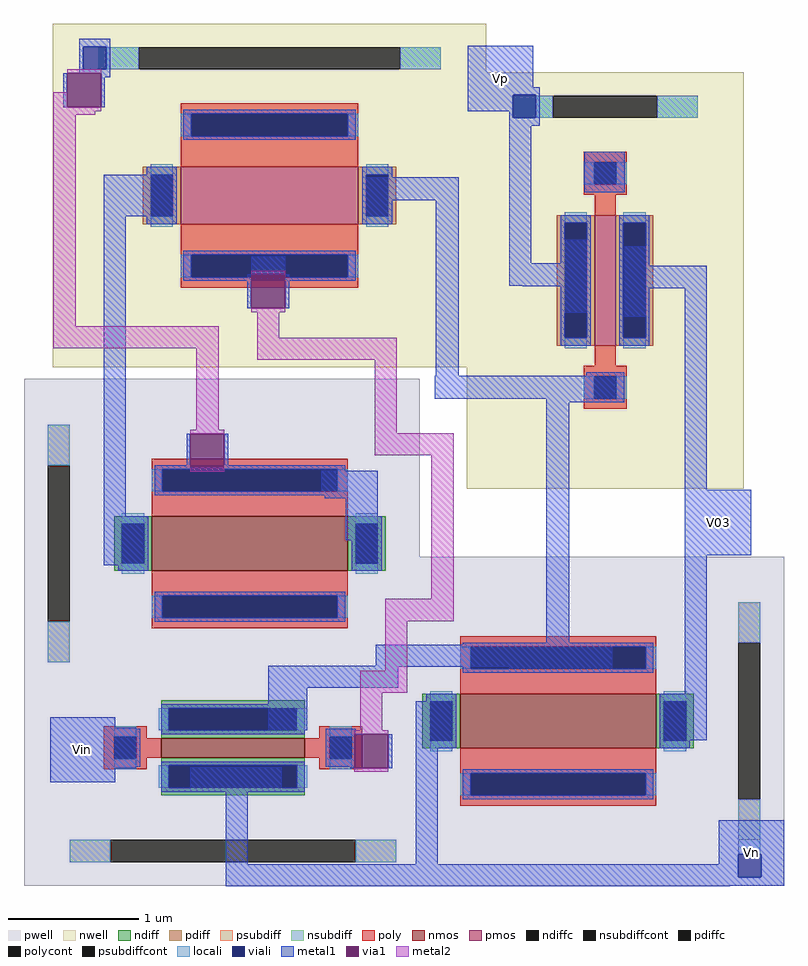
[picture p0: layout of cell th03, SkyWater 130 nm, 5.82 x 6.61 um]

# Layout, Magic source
magic
tech sky130A
magscale 1 2
<< nsubdiff >>
rect 1275 94 1327 128
<< locali >>
rect 642 168 667 202
rect 1300 94 1326 128
rect 1610 -1034 1644 -959
<< viali >>
rect 607 168 642 203
rect 1265 94 1300 129
rect 1610 -1069 1645 -1034
<< metal1 >>
rect 601 203 648 215
rect 601 168 607 203
rect 642 168 648 203
rect 601 162 648 168
rect 576 110 582 162
rect 634 156 648 162
rect 634 110 640 156
rect 1196 141 1296 204
rect 1196 129 1306 141
rect 1196 104 1265 129
rect 1259 94 1265 104
rect 1300 94 1306 129
rect 1259 82 1306 94
rect 638 -57 743 7
rect 1041 -32 1182 3
rect 1041 -57 1076 -32
rect 638 -527 672 -57
rect 864 -146 916 -118
rect 858 -198 864 -146
rect 916 -198 922 -146
rect 1147 -301 1182 -32
rect 1259 -129 1293 82
rect 1374 -20 1436 42
rect 1343 -129 1377 -93
rect 1259 -130 1377 -129
rect 1259 -163 1379 -130
rect 1280 -164 1379 -163
rect 1435 -133 1469 -103
rect 1343 -205 1377 -164
rect 1435 -167 1562 -133
rect 1435 -211 1469 -167
rect 1145 -335 1435 -301
rect 1145 -336 1434 -335
rect 1316 -342 1434 -336
rect 765 -442 771 -390
rect 823 -442 829 -390
rect 971 -481 1058 -447
rect 977 -489 1058 -481
rect 638 -591 701 -527
rect 1009 -553 1058 -489
rect 1024 -587 1058 -553
rect 1316 -713 1351 -342
rect 1055 -715 1351 -713
rect 1528 -476 1562 -167
rect 1528 -576 1630 -476
rect 1055 -745 1417 -715
rect 890 -747 1417 -745
rect 890 -779 1089 -747
rect 1259 -749 1417 -747
rect 1316 -750 1350 -749
rect 556 -840 656 -824
rect 556 -902 688 -840
rect 890 -844 950 -779
rect 1528 -799 1562 -576
rect 1016 -852 1022 -850
rect 984 -888 1022 -852
rect 556 -924 656 -902
rect 771 -935 911 -901
rect 1016 -902 1022 -888
rect 1074 -902 1080 -850
rect 1116 -860 1172 -800
rect 1495 -859 1562 -799
rect 825 -1049 859 -935
rect 1116 -1049 1150 -860
rect 1580 -1034 1680 -982
rect 1580 -1049 1610 -1034
rect 825 -1069 1610 -1049
rect 1645 -1069 1680 -1034
rect 825 -1082 1680 -1069
rect 825 -1083 1597 -1082
<< via1 >>
rect 582 110 634 162
rect 864 -198 916 -146
rect 771 -442 823 -390
rect 1022 -902 1074 -850
<< metal2 >>
rect 582 162 634 168
rect 561 110 582 133
rect 561 104 634 110
rect 561 99 625 104
rect 561 -225 595 99
rect 864 -146 916 -140
rect 864 -204 916 -198
rect 561 -259 814 -225
rect 780 -384 814 -259
rect 873 -243 907 -204
rect 873 -277 1087 -243
rect 771 -390 823 -384
rect 1053 -389 1087 -277
rect 1053 -423 1174 -389
rect 771 -448 823 -442
rect 1140 -643 1174 -423
rect 1069 -677 1174 -643
rect 1069 -753 1103 -677
rect 1031 -787 1103 -753
rect 1031 -844 1065 -787
rect 1022 -850 1074 -844
rect 1022 -908 1074 -902
use sky130_fd_pr__nfet_01v8_X33H33  XM0
transform 0 -1 836 1 0 -871
box -211 -320 211 320
use sky130_fd_pr__pfet_01v8_AMA9E4  XM1
transform 1 0 892 0 1 -25
box -332 -263 332 263
use sky130_fd_pr__nfet_01v8_LH5FDA  XM2
transform -1 0 862 0 1 -558
box -260 -252 346 252
use sky130_fd_pr__pfet_01v8_8DZSNJ  XM3
transform 1 0 1406 0 1 -155
box -212 -319 212 319
use sky130_fd_pr__nfet_01v8_LH5FDA  XM4
transform 1 0 1334 0 1 -830
box -260 -252 346 252
<< labels >>
flabel metal1 1580 -1082 1680 -982 0 FreeSans 256 0 0 0 Vn
port 3 nsew
flabel metal1 1530 -576 1630 -476 0 FreeSans 256 0 0 0 V03
port 1 nsew
flabel metal1 1196 104 1296 204 0 FreeSans 256 0 0 0 Vp
port 0 nsew
flabel metal1 556 -924 656 -824 0 FreeSans 256 0 0 0 Vin
port 2 nsew
<< end >>

# cell sky130_fd_pr__nfet_01v8_X33H33: kit device sky130_fd_pr__nfet_01v8, w 1.1 l 0.153 m 1 nf 1 diffcov 100 polycov 100 guard 1 glc 1 grc 1 gtc 1 gbc 1 tbcov 100 rlcov 100 topc 1 botc 1 poverlap 0 doverlap 1 lmin 0.15 wmin 0.42 compatible {sky130_fd_pr__nfet_01v8 sky130_fd_pr__nfet_01v8_lvt sky130_fd_bs_flash__special_sonosfet_star sky130_fd_pr__nfet_g5v0d10v5 sky130_fd_pr__nfet_05v0_nvt sky130_fd_pr__nfet_03v3_nvt} full_metal 1 viasrc 100 viadrn 100 viagate 100 viagb 0 viagr 0 viagl 0 viagt 0

# cell sky130_fd_pr__pfet_01v8_AMA9E4: kit device sky130_fd_pr__pfet_01v8, w 0.44 l 1.36 m 1 nf 1 diffcov 100 polycov 100 guard 1 glc 1 grc 1 gtc 1 gbc 1 tbcov 100 rlcov 100 topc 1 botc 1 poverlap 0 doverlap 1 lmin 0.15 wmin 0.42 compatible {sky130_fd_pr__pfet_01v8 sky130_fd_pr__pfet_01v8_lvt sky130_fd_pr__pfet_01v8_hvt sky130_fd_pr__pfet_g5v0d10v5} full_metal 1 viasrc 100 viadrn 100 viagate 100 viagb 0 viagr 0 viagl 0 viagt 0

# cell sky130_fd_pr__nfet_01v8_LH5FDA: kit device sky130_fd_pr__nfet_01v8, w 0.42 l 1.5 m 1 nf 1 diffcov 100 polycov 100 guard 1 glc 1 grc 1 gtc 1 gbc 1 tbcov 100 rlcov 100 topc 1 botc 1 poverlap 0 doverlap 1 lmin 0.15 wmin 0.42 compatible {sky130_fd_pr__nfet_01v8 sky130_fd_pr__nfet_01v8_lvt sky130_fd_bs_flash__special_sonosfet_star sky130_fd_pr__nfet_g5v0d10v5 sky130_fd_pr__nfet_05v0_nvt sky130_fd_pr__nfet_03v3_nvt} full_metal 1 viasrc 100 viadrn 100 viagate 100 viagb 0 viagr 0 viagl 0 viagt 0

# cell sky130_fd_pr__pfet_01v8_8DZSNJ: kit device sky130_fd_pr__pfet_01v8, w 1.0 l 0.156 m 1 nf 1 diffcov 100 polycov 100 guard 1 glc 1 grc 1 gtc 1 gbc 1 tbcov 100 rlcov 100 topc 1 botc 1 poverlap 0 doverlap 1 lmin 0.15 wmin 0.42 compatible {sky130_fd_pr__pfet_01v8 sky130_fd_pr__pfet_01v8_lvt sky130_fd_pr__pfet_01v8_hvt sky130_fd_pr__pfet_g5v0d10v5} full_metal 1 viasrc 100 viadrn 100 viagate 100 viagb 0 viagr 0 viagl 0 viagt 0
